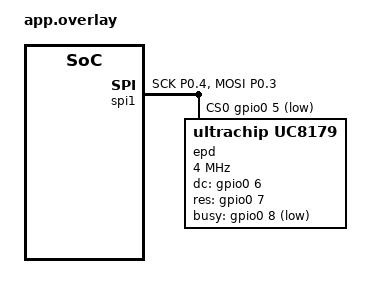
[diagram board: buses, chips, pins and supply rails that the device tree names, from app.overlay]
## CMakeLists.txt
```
# SPDX-License-Identifier: Apache-2.0

cmake_minimum_required(VERSION 3.20.0)

# Keep the display pin mapping explicit when the build directory is reused.
if(NOT DTC_OVERLAY_FILE)
  set(DTC_OVERLAY_FILE "${CMAKE_CURRENT_SOURCE_DIR}/app.overlay" CACHE STRING
      "Application devicetree overlay" FORCE)
endif()

find_package(Zephyr REQUIRED HINTS $ENV{ZEPHYR_BASE})
project(hello_world)

target_sources(app PRIVATE
  src/main.c
  src/ble_epd.c
  src/epd_frame_rx.c
  src/epd_text.c
  src/font_cn.c
  src/image_asset.c
)
```

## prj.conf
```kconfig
# nothing here
CONFIG_UART_CONSOLE=n
CONFIG_RTT_CONSOLE=y
CONFIG_USE_SEGGER_RTT=y
CONFIG_BT=y
CONFIG_BT_PERIPHERAL=y
CONFIG_BT_DEVICE_NAME="EPD-52832"
CONFIG_BT_MAX_CONN=1
CONFIG_BT_RX_STACK_SIZE=2048
CONFIG_BT_L2CAP_TX_MTU=247
CONFIG_BT_BUF_ACL_RX_SIZE=251
CONFIG_BT_BUF_ACL_TX_SIZE=251
CONFIG_MAIN_STACK_SIZE=4096
CONFIG_SPI=y
CONFIG_GPIO=y
CONFIG_PRINTK=y
```

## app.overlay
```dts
#include <zephyr/dt-bindings/gpio/gpio.h>
#include <zephyr/dt-bindings/pinctrl/nrf-pinctrl.h>

/* UART0's default RTS/CTS/TX/RX pins overlap the EPD control pins. */
&uart0 {
	status = "disabled";
};

&pinctrl {
	epd_spi_default: epd_spi_default {
		group1 {
			psels = <NRF_PSEL(SPIM_SCK, 0, 4)>,
				<NRF_PSEL(SPIM_MOSI, 0, 3)>,
				<NRF_PSEL_DISCONNECTED(SPIM_MISO)>;
		};
	};

	epd_spi_sleep: epd_spi_sleep {
		group1 {
			psels = <NRF_PSEL(SPIM_SCK, 0, 4)>,
				<NRF_PSEL(SPIM_MOSI, 0, 3)>,
				<NRF_PSEL_DISCONNECTED(SPIM_MISO)>;
			low-power-enable;
		};
	};
};

&spi1 {
	status = "okay";
	pinctrl-0 = <&epd_spi_default>;
	pinctrl-1 = <&epd_spi_sleep>;
	pinctrl-names = "default", "sleep";
	cs-gpios = <&gpio0 5 GPIO_ACTIVE_LOW>;

	epd: uc8179@0 {
		compatible = "ultrachip,uc8179";
		reg = <0>;
		spi-max-frequency = <4000000>;
		dc-gpios = <&gpio0 6 GPIO_ACTIVE_HIGH>;
		res-gpios = <&gpio0 7 GPIO_ACTIVE_HIGH>;
		/* UC8179 BUSY_N is low while the controller is busy and high when ready. */
		/* BUSY_N is active-low; the weak pull-up also covers modules that
		 * leave this output open-drain when idle. */
		busy-gpios = <&gpio0 8 (GPIO_ACTIVE_LOW | GPIO_PULL_UP)>;
	};
};
```

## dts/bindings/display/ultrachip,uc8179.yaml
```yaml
description: UltraChip UC8179 electrophoretic display controller

compatible: "ultrachip,uc8179"

include: spi-device.yaml

properties:
  dc-gpios:
    type: phandle-array
    required: true
    description: Data/command select GPIO, active high.

  res-gpios:
    type: phandle-array
    required: true
    description: Hardware reset GPIO, active high in this binding.

  busy-gpios:
    type: phandle-array
    required: true
    description: UC8179 BUSY_N input, active low while the controller is busy.
```

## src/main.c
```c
#include <errno.h>
#include <stdint.h>
#include <string.h>

#include <zephyr/device.h>
#include <zephyr/drivers/gpio.h>
#include <zephyr/drivers/spi.h>
#include <zephyr/kernel.h>
#include <zephyr/sys/printk.h>

#include "ble_epd.h"
#include "epd_frame_rx.h"
#include "epd_text.h"
#include "image_asset.h"

#define EPD_NODE DT_NODELABEL(epd)

#define EPD_WIDTH 800   //水墨屏宽度像素
#define EPD_HEIGHT 480  //水墨屏高度像素
#define EPD_ROW_BYTES (EPD_WIDTH / 8) //水墨屏宽度字节
#define EPD_FRAME_BYTES (EPD_ROW_BYTES * EPD_HEIGHT)//水墨屏总字节
#define EPD_BUSY_TIMEOUT_MS 30000  //等待busy引脚由忙转为空闲状态
#define EPD_BUSY_ASSERT_TIMEOUT_MS 1000  //等待busy引脚由空闲状态转为忙

static const struct spi_dt_spec epd_spi =
	SPI_DT_SPEC_GET(EPD_NODE, SPI_WORD_SET(8) | SPI_TRANSFER_MSB, 0);
static const struct gpio_dt_spec epd_dc =
	GPIO_DT_SPEC_GET(EPD_NODE, dc_gpios);
static const struct gpio_dt_spec epd_res =
	GPIO_DT_SPEC_GET(EPD_NODE, res_gpios);
static const struct gpio_dt_spec epd_busy =
	GPIO_DT_SPEC_GET(EPD_NODE, busy_gpios);

/**
 * @brief 得到busy引脚物理电平状态.
 *
 * @return 0 if the pin is low, 1 if the pin is high, or a negative error code.
 */
static int epd_busy_raw(void)
{
	return gpio_pin_get_raw(epd_busy.port, epd_busy.pin);
}
/**
 * @brief 向EPD写入数据.
 *
 * @param data 是否为数据模式, false: 命令模式, true: 数据模式.
 * @param buffer 数据缓冲区.
 * @param length 数据长度.
 * @return 0: 成功, 其他: 错误码.
 */
static int epd_write(bool data, const uint8_t *buffer, size_t length)
{
	// 1.首先分配一个SPI buffer内存空间
	struct spi_buf spi_buf = {
		.buf = (void *)buffer,
		.len = length,
	};
	// 2.然后将这个SPI buffer内存空间放到一个内存数组中
	struct spi_buf_set spi_buf_set = {
		.buffers = &spi_buf,
		.count = 1,
	};
	int ret;
	// 3.设置DC引脚的值
	ret = gpio_pin_set_dt(&epd_dc, data ? 1 : 0);
	if (ret < 0) {
		return ret;
	}
	// 4.调用底层spi写入
	return spi_write_dt(&epd_spi, &spi_buf_set);
}

/**
 * @brief 向EPD发送命令.
 *
 * @param command 要发送的命令字.
 * @return 0: 成功, 其他: 错误码.
 */
static int epd_command(uint8_t command)
{
	return epd_write(false, &command, 1);
}

/**
 * @brief 向EPD发送命令.
 *
 * @param data 要发送的数据.
 * @param length 数据长度.
 * @return 0: 成功, 其他: 错误码.
 */
static int epd_data(const uint8_t *data, size_t length)
{
	return epd_write(true, data, length);
}


static int epd_wait_ready(void)
{
	// 1. 获取当前时间
	int64_t deadline = k_uptime_get() + EPD_BUSY_TIMEOUT_MS;
	int busy;
	// 2. 等待EPD就绪
	while (true)
	{
		busy = gpio_pin_get_dt(&epd_busy);
		if (busy < 0) {
			return busy;
		}
		if (busy == 0) {
			return 0;
		}
		if (k_uptime_get() >= deadline) {
			printk("EPD BUSY timeout: logical=%d raw=%d\n",
			       busy, epd_busy_raw());
			return -ETIMEDOUT;
		}
		k_msleep(10);
	}
}

static int epd_wait_busy(void)
{
	// 1. 获取当前时间
	int64_t deadline = k_uptime_get() + EPD_BUSY_ASSERT_TIMEOUT_MS;
	int busy;
	// 2. 等待EPD忙信号断开
	while (true) {
		busy = gpio_pin_get_dt(&epd_busy);
		if (busy < 0) {
			return busy;
		}
		if (busy != 0) {
			return 0;
		}
		if (k_uptime_get() >= deadline) {
			printk("EPD BUSY assert timeout: logical=%d raw=%d\n",
			       busy, epd_busy_raw());
			return -ETIMEDOUT;
		}
		k_msleep(1);
	}
}

static int epd_write_register(uint8_t command, const uint8_t *data, size_t length)
{
	int ret = epd_command(command);

	if (ret == 0 && length != 0) 
	{
		ret = epd_data(data, length);
	}

	return ret;
}

static int epd_reset(void)
{
	int ret;

	ret = gpio_pin_set_dt(&epd_res, 0);
	if (ret < 0) {
		return ret;
	}
	/* Keep RES# low for a conservative 10 ms. */
	k_msleep(10);

	ret = gpio_pin_set_dt(&epd_res, 1);
	if (ret < 0) {
		return ret;
	}
	k_msleep(10);

	/* UC8179 ignores commands for at least 1 ms after reset release. */
	k_msleep(20);
	return 0;
}

static int epd_init(void)
{
	static const uint8_t panel_setting[] = {0x0F};
	/* Common 800x480 UC8179 panel power profile. */
	static const uint8_t power_setting[] = {0x07, 0x17, 0x3F, 0x3F, 0x03};
	static const uint8_t booster_soft_start[] = {0x17, 0x17, 0x17, 0x17};
	static const uint8_t pll_setting[] = {0x39};
	static const uint8_t resolution[] = {0x03, 0x20, 0x01, 0xE0};
	static const uint8_t vcom_setting[] = {0x28};
	static const uint8_t cdi_setting[] = {0x12, 0x07};
	int ret;

	ret = epd_reset();
	if (ret < 0) {
		return ret;
	}

	ret = epd_write_register(0x00, panel_setting, sizeof(panel_setting));
	if (ret == 0) {
		ret = epd_write_register(0x01, power_setting, sizeof(power_setting));
	}
	if (ret == 0) {
		ret = epd_write_register(0x06, booster_soft_start,
					 sizeof(booster_soft_start));
	}
	if (ret == 0) {
		ret = epd_write_register(0x30, pll_setting, sizeof(pll_setting));
	}
	if (ret == 0) {
		ret = epd_write_register(0x61, resolution, sizeof(resolution));
	}
	if (ret == 0) {
		ret = epd_write_register(0x82, vcom_setting,
					 sizeof(vcom_setting));
	}
	if (ret == 0) {
		ret = epd_write_register(0x50, cdi_setting, sizeof(cdi_setting));
	}
	if (ret == 0) {
		ret = epd_command(0x04);
	}
	if (ret == 0) {
		/* Do not send frame data until the booster and regulators are ready. */
		ret = epd_wait_busy();
	}
	if (ret == 0) {
		ret = epd_wait_ready();
	}

	return ret;
}


static int epd_write_test_plane(uint8_t command, const uint8_t *plane)
{
	int ret = epd_command(command);

	if (ret < 0)
	{
		return ret;
	}

	/* One SPI transaction keeps CS# asserted for all 48,000 bytes. */
	return epd_data(plane, EPD_FRAME_BYTES);
}

static int epd_refresh_test_pattern(void)
{
	int ret;

	ret = epd_wait_ready();
	if (ret == 0) {
		ret = epd_write_test_plane(0x10, epd_image_kw);
	}
	if (ret == 0) {
		ret = epd_write_test_plane(0x13, epd_image_red);
	}
	if (ret == 0) {
		/* UC8179 refresh sequence is DTM1 -> DTM2 -> DRF. */
		ret = epd_command(0x12);
	}
	if (ret == 0) {
		ret = epd_wait_busy();
	}
	if (ret == 0) {
		ret = epd_wait_ready();
	}

	return ret;
}

static int epd_refresh_text(const uint8_t *text, size_t length)
{
	uint8_t kw_row[EPD_TEXT_ROW_BYTES];
	uint8_t red_row[EPD_TEXT_ROW_BYTES];
	int ret = epd_wait_ready();

	if (ret == 0) {
		ret = epd_command(0x10);
	}
	for (size_t row = 0; ret == 0 && row < EPD_HEIGHT; row++) {
		epd_text_render_row(text, length, row, kw_row, red_row);
		ret = epd_data(kw_row, sizeof(kw_row));
	}
	if (ret == 0) {
		ret = epd_command(0x13);
	}
	for (size_t row = 0; ret == 0 && row < EPD_HEIGHT; row++) {
		epd_text_render_row(text, length, row, kw_row, red_row);
		ret = epd_data(red_row, sizeof(red_row));
	}
	if (ret == 0) {
		ret = epd_command(0x12);
	}
	if (ret == 0) {
		ret = epd_wait_busy();
	}
	if (ret == 0) {
		ret = epd_wait_ready();
	}
	return ret;
}

static int epd_stream_start_plane(uint8_t command)
{
	int ret = epd_wait_ready();

	if (ret == 0) {
		ret = epd_command(command);
	}
	return ret;
}

static int epd_stream_refresh(void)
{
	int ret = epd_command(0x12);

	if (ret == 0) {
		ret = epd_wait_busy();
	}
	if (ret == 0) {
		ret = epd_wait_ready();
	}
	return ret;
}

static const struct epd_frame_rx_ops frame_rx_ops = {
	.start_plane = epd_stream_start_plane,
	.write_data = epd_data,
	.refresh = epd_stream_refresh,
};

static uint8_t pending_text_buffer[EPD_TEXT_MAX_BYTES];

int main(void)
{
	int ret;

	printk("UC8179 test start\n");
	ret = ble_epd_init();
	if (ret < 0) {
		printk("BLE init returned: %d\n", ret);
	}

	if (!spi_is_ready_dt(&epd_spi) || !device_is_ready(epd_dc.port) ||
	    !device_is_ready(epd_res.port) || !device_is_ready(epd_busy.port)) 
	{
		printk("EPD hardware is not ready\n");
		return 0;
	}
	ret = gpio_pin_configure_dt(&epd_dc, GPIO_OUTPUT_INACTIVE);
	if (ret == 0) {
		ret = gpio_pin_configure_dt(&epd_res, GPIO_OUTPUT_INACTIVE);
	}
	if (ret == 0) {
		ret = gpio_pin_configure_dt(&epd_busy, GPIO_INPUT);
	}
	if (ret < 0) {
		printk("GPIO setup failed: %d\n", ret);
		return 0;
	}
	ret = epd_init();
	if (ret < 0) {
		printk("UC8179 init failed: %d\n", ret);
		return 0;
	}

	printk("UC8179 initialized, refreshing test pattern\n");
	ret = epd_refresh_test_pattern();
	if (ret < 0) {
		printk("EPD refresh failed: %d\n", ret);
		return 0;
	}

	printk("EPD refresh complete\n");
	epd_frame_rx_init(&frame_rx_ops);
	while (true)
	{
		size_t text_length;

		epd_frame_rx_process();
		if (!epd_frame_rx_is_busy() &&
		    ble_epd_take_text(pending_text_buffer, sizeof(pending_text_buffer),
				      &text_length) == 0)
		{
			printk("Displaying BLE text: %s\n", pending_text_buffer);
			ret = epd_refresh_text(pending_text_buffer, text_length);
			if (ret < 0)
			{
				printk("EPD text refresh failed: %d\n", ret);
			}
		}
		k_msleep(1);
	}

	return 0;
}
```

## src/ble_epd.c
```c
#include <errno.h>
#include <stdbool.h>
#include <string.h>

#include <zephyr/bluetooth/bluetooth.h>
#include <zephyr/bluetooth/conn.h>
#include <zephyr/bluetooth/gatt.h>
#include <zephyr/bluetooth/uuid.h>
#include <zephyr/kernel.h>
#include <zephyr/sys/printk.h>
#include <zephyr/sys/atomic.h>

#include "ble_epd.h"
//定义128位服务UUID
#define BT_UUID_EPD_SERVICE_VAL \
	BT_UUID_128_ENCODE(0x12345678, 0x1234, 0x5678, 0x1234, 0x56789abcdef0ULL)
//定义128位control UUID
#define BT_UUID_EPD_CONTROL_VAL \
	BT_UUID_128_ENCODE(0x12345678, 0x1234, 0x5678, 0x1234, 0x56789abcdef1ULL)
//定义128位status UUID
#define BT_UUID_EPD_STATUS_VAL \
	BT_UUID_128_ENCODE(0x12345678, 0x1234, 0x5678, 0x1234, 0x56789abcdef2ULL)
//定义128位发送帧 UUID
#define BT_UUID_EPD_FRAME_DATA_VAL \
	BT_UUID_128_ENCODE(0x12345678, 0x1234, 0x5678, 0x1234, 0x56789abcdef3ULL)

#define EPD_ADVERTISING_DATA_COUNT   2 // 广播数据项的数量
#define EPD_SCAN_RESPONSE_DATA_COUNT 1 // 扫描响应数据项的数量
#define FRAME_QUEUE_DEPTH 			 8 // 图像帧数据缓存队列深度

struct frame_chunk {
	uint16_t 					   length;// 当前数据块的实际字节长度
	uint8_t data[BLE_EPD_FRAME_CHUNK_MAX];// 存放图像二进制块的数组
};


// 将上面定义的 128 位 UUID 值的宏实例化为结构体对象，供 GATT 服务注册使用
static struct bt_uuid_128 epd_service_uuid =
			BT_UUID_INIT_128(BT_UUID_EPD_SERVICE_VAL)	;
static struct bt_uuid_128 epd_control_uuid =
			BT_UUID_INIT_128(BT_UUID_EPD_CONTROL_VAL)   ;
static struct bt_uuid_128 epd_status_uuid =
			BT_UUID_INIT_128(BT_UUID_EPD_STATUS_VAL)    ;
static struct bt_uuid_128 epd_frame_data_uuid =
			BT_UUID_INIT_128(BT_UUID_EPD_FRAME_DATA_VAL);

// 定义并初始化一个消息队列：用于向 EPD 主线程传递控制指令（容量 4 个，单个大小为枚举类型，4字节对齐）
K_MSGQ_DEFINE(frame_command_queue, sizeof(enum ble_epd_frame_command), 4, 4);

// 定义并初始化一个消息队列：用于向 EPD 主线程传递图像数据块（容量 8 个，每个为 struct frame_chunk，4字节对齐）
K_MSGQ_DEFINE(frame_data_queue, sizeof(struct frame_chunk), FRAME_QUEUE_DEPTH, 4);

static char status_text[32] = "READY";// 保存当前 BLE 状态的字符串缓冲（默认 "READY")
static uint8_t 		 pending_text[96];// 暂存待显示文本的缓冲区
static size_t     pending_text_length;// 待显示文本的实际长度
static bool 			 text_pending;// 标志位：是否有新的文本待处理
static bool 	 frame_accepting_data;// 标志位：当前是否处于允许接收图像数据的状态
static size_t 	 frame_accepted_bytes;// 当前已接收到的图像字节总数
static struct 	   k_mutex text_mutex;// 用于保护文本缓冲区的互斥锁
static struct     k_mutex frame_mutex;// 用于保护帧接收状态机的互斥锁
static struct    k_mutex status_mutex;// 用于保护状态字符串的互斥锁
static atomic_t   ble_connected_state;// 原子变量：记录 BLE 连接状态（1:已连接, 0:未连接）
static atomic_t status_notify_enabled;// 原子变量：记录客户端是否开启了 Status 的 Notify 通知（1:开启, 0:关闭）

static const struct   bt_data advertising_data[];// 声明广播数据数组
static const struct bt_data scan_response_data[];// 声明扫描响应数据数组

// 前置声明：状态读取回调函数
static ssize_t status_read(struct bt_conn *conn,
				const struct bt_gatt_attr *attr,
				   					  void *buf, 
								   uint16_t len, 
							   uint16_t offset);
// 前置声明：控制指令写入回调函数
static ssize_t control_write(struct bt_conn *conn,
				  const struct bt_gatt_attr *attr,
				    			  const void *buf, 
								 	 uint16_t len,
				    			  uint16_t offset, 
								   uint8_t flags);
// 前置声明：图像帧数据写入回调函数
static ssize_t frame_data_write(struct bt_conn *conn,
					 const struct bt_gatt_attr *attr,
									 const void *buf, 
										uint16_t len,
									 uint16_t offset, 
									  uint8_t flags);
// 前置声明：CCC (Client Characteristic Configuration) 改变时的回调函数（订阅/取消订阅 Notify）
static void status_ccc_changed(const struct bt_gatt_attr *attr, 
											   uint16_t value);
// 前置声明：连接断开后的异步延时处理函数，并定义相关的 Work 任务
static void disconnected_work_handler(struct k_work *work);
K_WORK_DEFINE(disconnected_work, disconnected_work_handler);

// 使用宏注册 BLE GATT 服务及其特征值
BT_GATT_SERVICE_DEFINE(epd_service,
	// 定义主服务 (Primary Service)
	BT_GATT_PRIMARY_SERVICE(&epd_service_uuid.uuid),
	// 1. 定义 Control 特征值：可写、无需响应写，写权限为可写，绑定 control_write 回调
	BT_GATT_CHARACTERISTIC(&epd_control_uuid.uuid  ,
	BT_GATT_CHRC_WRITE | BT_GATT_CHRC_WRITE_WITHOUT_RESP,
	BT_GATT_PERM_WRITE, NULL, control_write, NULL) ,
	// 2. 定义 Status 特征值：可读、可通知 (Notify)，读权限为可读，绑定 status_read 回调
	BT_GATT_CHARACTERISTIC(&epd_status_uuid.uuid   ,
	BT_GATT_CHRC_READ | BT_GATT_CHRC_NOTIFY    ,
	BT_GATT_PERM_READ, status_read, NULL, NULL),
	// 定义 Status 特征值的 CCCD (用于控制 Notify 的订阅状态)
	BT_GATT_CCC(status_ccc_changed,
	BT_GATT_PERM_READ | BT_GATT_PERM_WRITE),
	// 3. 定义 Frame Data 特征值：可写，绑定 frame_data_write 回调
	BT_GATT_CHARACTERISTIC(&epd_frame_data_uuid.uuid,
	BT_GATT_CHRC_WRITE,
	BT_GATT_PERM_WRITE, NULL, frame_data_write, NULL));

/**
 * @brief 当中央设备（如手机）读取 Status 特征值时的回调
 * 
 * @param conn 连接对象指针
 * @param attr 属性对象指针
 * @param buf 输出缓冲区指针
 * @param len 输出缓冲区长度
 * @param offset 偏移量
 * @return ssize_t 实际读取的字节数
 */
static ssize_t status_read(struct bt_conn *conn,
				const struct bt_gatt_attr *attr,
				   					  void *buf, 
								   uint16_t len, 
							    uint16_t offset)
{
	char value[sizeof(status_text)];
	size_t value_length;
	// 1.加锁安全拷贝当前的状态字符串
	k_mutex_lock(&status_mutex, K_FOREVER);
	value_length = strlen(status_text);
	memcpy(value, status_text, value_length + 1);
	k_mutex_unlock(&status_mutex);
	// 2.调用 Zephyr API 将数据返回给中央设备
	return bt_gatt_attr_read(conn, attr, buf, len, offset, value, value_length);
}

/**
 * @brief 供外部/系统调用的函数：设置当前状态，并通过 Notify 主动推送给手机
 * 
 * @param text 要设置的状态字符串
 */
void ble_epd_set_status(const char *text)
{
	size_t length;
	int ret;
	// 1. 检查输入指针是否为空
	if (text == NULL) 
	{
		return;
	}
	length = strlen(text);
	// 2. 检查输入字符串长度是否超过限制
	if (length >= sizeof(status_text)) 
	{
		length = sizeof(status_text) - 1;
	}
	// 3. 加锁安全拷贝状态字符串
	k_mutex_lock(&status_mutex, K_FOREVER);
	memcpy(status_text, text, length);
	status_text[length] = '\0';
	k_mutex_unlock(&status_mutex);
	// 4. 检查连接状态和通知启用状态
	if (!atomic_get(&ble_connected_state) ||
	    !atomic_get(&status_notify_enabled)) 
	{
		return;
	}

	// 5.参数 NULL 表示将通知发送给所有订阅了该特征的已连接主设备 
	//   &epd_service.attrs[4] 对应 Status 特征的属性句柄
	ret = bt_gatt_notify(NULL, &epd_service.attrs[4], status_text, length);

	if (ret != 0 && atomic_get(&ble_connected_state)) 
	{
		printk("BLE status notify failed: %d (%s)\n", ret, status_text);
	}
}

/**
 * @brief 将命令放入控制命令队列
 * 
 * @param command 进入队列的命令
 * @return 0 成功，-ENOMEM 内存不足
 */
static int queue_frame_command(enum ble_epd_frame_command command)
{
	if (k_msgq_put(&frame_command_queue, &command, K_NO_WAIT) != 0) 
	{
		return -ENOMEM;
	}
	return 0;
}

/**
 * @brief 当手机向 Control 特征值写入数据时的回调
 * 
 * @param conn 连接指针
 * @param attr 特征属性指针
 * @param buf 数据缓冲区
 * @param len 数据长度
 * @param offset 偏移量
 * @param flags 标志
 * @return 写操作结果
 */
static ssize_t control_write(struct bt_conn *conn,
				  const struct bt_gatt_attr *attr,
				    			  const void *buf, 
								 	 uint16_t len,
				    			  uint16_t offset, 
								   uint8_t flags)
{
	char command[96];
	int ret = 0;

	ARG_UNUSED(conn);
	ARG_UNUSED(attr);
	ARG_UNUSED(flags);
	// 1.不支持带偏移量的分段写入
	if (offset != 0) 
	{
		return BT_GATT_ERR(BT_ATT_ERR_INVALID_OFFSET);
	}
	// 2.检查数据长度是否有效
	if (len == 0 || len >= sizeof(command))
	{
		return BT_GATT_ERR(BT_ATT_ERR_INVALID_ATTRIBUTE_LEN);
	}

	memcpy(command, buf, len);
	command[len] = '\0';
	if (len == 4 && memcmp(command, "PING", 4) == 0) 
	{
		ble_epd_set_status("PONG");
	} 
	else if (len == 8 && memcmp(command, "FRAME:KW", 8) == 0) 
	{
		ret = queue_frame_command(BLE_EPD_FRAME_COMMAND_KW);
	} 
	else if (len == 9 && memcmp(command, "FRAME:RED", 9) == 0) 
	{
		ret = queue_frame_command(BLE_EPD_FRAME_COMMAND_RED);
	} 
	else if (len == 10 && memcmp(command, "FRAME:SHOW", 10) == 0) 
	{
		ret = queue_frame_command(BLE_EPD_FRAME_COMMAND_SHOW);
	} 
	else if (len == 11 && memcmp(command, "FRAME:ABORT", 11) == 0) 
	{
		ret = queue_frame_command(BLE_EPD_FRAME_COMMAND_ABORT);
	} 
	else if (len > 5 && memcmp(command, "TEXT:", 5) == 0) 
	{
		size_t text_length = len - 5;

		while (text_length                   >   0 	&&
			  (command[5 + text_length - 1] == '\r' ||
			   command[5 + text_length - 1] == '\n')) 
		{
			text_length--;
		}
		if (text_length == 0 || text_length >= sizeof(pending_text)) 
		{
			ble_epd_set_status("ERROR:TEXT_LEN");
			return len;
		}
		// 3. 处理文本命令
		k_mutex_lock(&text_mutex, K_FOREVER);
		memcpy(pending_text, &command[5], text_length);

		pending_text[text_length] =  		'\0';
		pending_text_length 	  =  text_length;
		text_pending        	  = 		true;

		k_mutex_unlock(&text_mutex)  ;
		ble_epd_set_status("TEXT_OK");
	} 
	else 
	{
		ble_epd_set_status("ERROR:UNKNOWN");
		return len;
	}
	// 4. 检查命令队列状态
	if (ret < 0) 
	{
		ble_epd_set_status("ERROR:CMD_QUEUE");
		return BT_GATT_ERR(BT_ATT_ERR_INSUFFICIENT_RESOURCES);
	}
	return len;
}

/**
 * @brief 当手机向 Frame Data 特征值写入图像数据块时的回调
 * 
 * @param conn 连接指针
 * @param attr 特征属性指针
 * @param buf 数据缓冲区
 * @param len 数据长度
 * @param offset 偏移量
 * @param flags 标志
 * @return 写操作结果
 */
static ssize_t frame_data_write(struct bt_conn *conn,
					 const struct bt_gatt_attr *attr,
									 const void *buf, 
										uint16_t len,
									 uint16_t offset, 
									  uint8_t flags)
{
	struct frame_chunk chunk;

	ARG_UNUSED(conn);
	ARG_UNUSED(attr);
	ARG_UNUSED(flags);
	// 1.不支持带偏移量的分段写入
	if (offset != 0) 
	{
		return BT_GATT_ERR(BT_ATT_ERR_INVALID_OFFSET);
	}
	// 2. 检查数据长度是否有效
	if (len == 0 || len > sizeof(chunk.data)) 
	{
		return BT_GATT_ERR(BT_ATT_ERR_INVALID_ATTRIBUTE_LEN);
	}

	k_mutex_lock(&frame_mutex, K_FOREVER);
	// 3. 检查是否允许接受数据
	if (!frame_accepting_data) 
	{
		k_mutex_unlock(&frame_mutex);
		return BT_GATT_ERR(BT_ATT_ERR_WRITE_REQ_REJECTED);
	}
	// 4. 检查是否超过最大接受字节数
	if (frame_accepted_bytes + len > BLE_EPD_FRAME_BYTES) 
	{
		k_mutex_unlock(&frame_mutex);
		return BT_GATT_ERR(BT_ATT_ERR_INVALID_ATTRIBUTE_LEN);
	}

	chunk.length = len;
	memcpy(chunk.data, buf, len);
	// 5. 将数据块推入消息队列供底层显示线程读取
	if (k_msgq_put(&frame_data_queue, &chunk, K_NO_WAIT) != 0) 
	{
		printk("BLE frame queue full at %u/%u bytes\n",
		       (unsigned int)frame_accepted_bytes, BLE_EPD_FRAME_BYTES);
		k_mutex_unlock(&frame_mutex);
		return BT_GATT_ERR(BT_ATT_ERR_INSUFFICIENT_RESOURCES);
	}
	frame_accepted_bytes += len;
	// 6. 检查是否已接收完所有数据
	if (frame_accepted_bytes == BLE_EPD_FRAME_BYTES) 
	{
		frame_accepting_data = false;
	}
	k_mutex_unlock(&frame_mutex);
	return len;
}

// 客户端改变订阅状态（CCCD 变化）时的回调
static void status_ccc_changed(const struct bt_gatt_attr *attr, uint16_t value)
{
	ARG_UNUSED(attr);
	// 判断客户端是否开启了 Notify (BT_GATT_CCC_NOTIFY)
	atomic_set(&status_notify_enabled,
		       value == BT_GATT_CCC_NOTIFY ? 1 : 0);
}

/**
 * @brief 清空/复位图像传输状态及消息队列
 */
static void reset_frame_transport(void)
{
	k_mutex_lock(&frame_mutex, K_FOREVER);
	frame_accepting_data = false;
	frame_accepted_bytes = 	   0;
	// 清空消息队列
	k_msgq_purge(&frame_data_queue);
	k_msgq_purge(&frame_command_queue);
	k_mutex_unlock(&frame_mutex);
}

/**
 * @brief 连接建立时的回调
 * 
 * @param conn 连接指针
 * @param err 错误码
 */
static void connected(struct bt_conn *conn, uint8_t err)
{
	ARG_UNUSED(conn);
	if (err != 0) 
	{
		printk("BLE connection failed: %u\n", err);
		return;
	}
	// 标记已连接
	atomic_set(&ble_connected_state, 1);
	// 复位 Notify 订阅状态（等待客户端重新订阅）
	atomic_set(&status_notify_enabled, 0);
	printk("BLE connected\n");
}

/**
 * @brief 连接建立时的回调
 * 
 * @brief 连接断开时的回调
 * 
 * @param conn 连接指针
 * @param reason 断开原因
 */
static void disconnected(struct bt_conn *conn, uint8_t reason)
{
	ARG_UNUSED(conn);
	// 标记已断开连接
	atomic_set(&ble_connected_state, 0);
	// 复位 Notify 订阅状态（等待客户端重新订阅）
	atomic_set(&status_notify_enabled, 0);
	printk("BLE disconnected: reason 0x%02x\n", reason);
	// 将断开后的清理与重新广播逻辑提交到内核 Work 工作队列异步执行，不在中断/协议栈上下文强行操作
	k_work_submit(&disconnected_work);
}

/**
 * @brief 断开后的清理与重新广播逻辑
 * 
 * @param work 工作项指针
 */
static void disconnected_work_handler(struct k_work *work)
{
	enum ble_epd_frame_command abort_command = BLE_EPD_FRAME_COMMAND_ABORT;
	int err;

	ARG_UNUSED(work);
	// 1. 临界条件处理：如果在这期间设备迅速重新连接了，说明新连接接管了传输，老连接的清理不能破坏当前状态
	if (atomic_get(&ble_connected_state)) 
	{
		return;
	}
	// 2. 重置帧传输状态
	reset_frame_transport();
	// 3. 向显示线程发送 ABORT 中止指令
	(void)k_msgq_put(&frame_command_queue, &abort_command, K_NO_WAIT);
	// 4.重新开启 BLE 广播，等待下次连接
	err = bt_le_adv_start(BT_LE_ADV_CONN, advertising_data,
				      EPD_ADVERTISING_DATA_COUNT, scan_response_data,
				      EPD_SCAN_RESPONSE_DATA_COUNT);
	if (err != 0 && err != -EALREADY) 
	{
		printk("BLE restart advertising failed: %d\n", err);
	}
}

// 注册连接回调函数结构体
BT_CONN_CB_DEFINE(epd_conn_callbacks) = {
	.connected    =    connected,
	.disconnected = disconnected,
};

// 配置广播数据包 (Advertising Data)
static const struct bt_data advertising_data[] = {
	// 广播 Flag：通用可发现模式，不支持 BR/EDR (经典蓝牙)
	BT_DATA_BYTES(BT_DATA_FLAGS, (BT_LE_AD_GENERAL | BT_LE_AD_NO_BREDR)),
	// 广播主服务的 128 位 UUID
	BT_DATA_BYTES(BT_DATA_UUID128_ALL, BT_UUID_EPD_SERVICE_VAL),
};

// 配置扫描响应数据包 (Scan Response Data)
static const struct bt_data scan_response_data[] = {
	BT_DATA(
					BT_DATA_NAME_COMPLETE, 
			  		CONFIG_BT_DEVICE_NAME,
  	   sizeof(CONFIG_BT_DEVICE_NAME) - 1),
};

/** 
 * @brief BLE就绪回调函数
 * @param err 错误码
 */
static void bt_ready(int err)
{
	if (err != 0) 
	{
		printk("BLE enable failed: %d\n", err);
		return;
	}
	// 1. 开始 BLE 广播
	err = bt_le_adv_start(BT_LE_ADV_CONN,
				        advertising_data,
			ARRAY_SIZE(advertising_data),
				      scan_response_data,
		 ARRAY_SIZE(scan_response_data));

	if (err != 0) 
	{
		printk("BLE advertising failed: %d\n", err);
		return;
	}
	printk("BLE advertising as %s\n", CONFIG_BT_DEVICE_NAME);
}

// 模块初始化 API：供 main() 函数调用
int ble_epd_init(void)
{
	int err;

	k_mutex_init(&text_mutex);
	k_mutex_init(&frame_mutex);
	k_mutex_init(&status_mutex);
	atomic_set(&ble_connected_state, 0);
	atomic_set(&status_notify_enabled, 0);
	reset_frame_transport();
	err = bt_enable(bt_ready);
	if (err != 0) 
	{
		printk("BLE init failed: %d\n", err);
	}
	return err;
}

/**
 * @brief 获取待显示文本数据
 * @param buffer 存储文本数据的缓冲区
 * @param capacity 缓冲区容量
 * @param length 实际获取的文本长度
 * @return 0 成功，-EAGAIN 无数据，-EINVAL 参数错误
 */
int ble_epd_take_text(uint8_t *buffer, size_t capacity, size_t *length)
{
	int ret = -EAGAIN;

	if (buffer == NULL || length == NULL || capacity == 0) 
	{
		return -EINVAL;
	}
	k_mutex_lock(&text_mutex, K_FOREVER);
	if (text_pending && pending_text_length < capacity) 
	{
		memcpy(buffer, pending_text, pending_text_length);
		buffer[pending_text_length] = '\0';
		*length = pending_text_length;
		text_pending = false;
		ret = 0;
	}
	k_mutex_unlock(&text_mutex);
	return ret;
}

/**
 * @brief 获取帧命令
 * @param command 存储命令的指针
 * @return 0 成功，-EAGAIN 无数据，-EINVAL 参数错误
 */
int ble_epd_take_frame_command(enum ble_epd_frame_command *command)
{
	if (command == NULL) 
	{
		return -EINVAL;
	}
	// 非阻塞方式从消息队列取出一条指令
	return k_msgq_get(&frame_command_queue, command, K_NO_WAIT) == 0 ? 0 : -EAGAIN;
}

// 显示线程通知 BLE 模块：准备好接收新的图像数据帧
void ble_epd_frame_start_data(void)
{
	k_mutex_lock(&frame_mutex, K_FOREVER);
	k_msgq_purge(&frame_data_queue);
	frame_accepted_bytes = 0;
	frame_accepting_data = true;
	k_mutex_unlock(&frame_mutex);
}
// 显示线程通知 BLE 模块：停止接收图像数据帧
void ble_epd_frame_stop_data(void)
{
	k_mutex_lock(&frame_mutex, K_FOREVER);
	frame_accepting_data = false;
	frame_accepted_bytes = 0;
	k_msgq_purge(&frame_data_queue);
	k_mutex_unlock(&frame_mutex);
}

/**
 * @brief 显示线程从队列中提取一个图像数据块
 * @param buffer 存储数据的缓冲区
 * @param capacity 缓冲区容量
 * @param length 实际数据长度
 * @return 0 成功，-EAGAIN 无数据，-EINVAL 参数错误，-ENOBUFS 缓冲区不足
 */
int ble_epd_take_frame_data(uint8_t *buffer, size_t capacity, size_t *length)
{
	struct frame_chunk chunk;

	if (buffer == NULL || length == NULL) 
	{
		return -EINVAL;
	}
	if (k_msgq_get(&frame_data_queue, &chunk, K_NO_WAIT) != 0) 
	{
		return -EAGAIN;
	}
	if (chunk.length > capacity) 
	{
		return -ENOBUFS;
	}
	memcpy(buffer, chunk.data, chunk.length);
	*length = chunk.length;
	return 0;
}
```

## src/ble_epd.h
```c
#ifndef BLE_EPD_H_
#define BLE_EPD_H_

#include <stddef.h>
#include <stdint.h>

#define BLE_EPD_FRAME_BYTES 48000U
#define BLE_EPD_FRAME_CHUNK_MAX 244U

enum ble_epd_frame_command {
	BLE_EPD_FRAME_COMMAND_KW,
	BLE_EPD_FRAME_COMMAND_RED,
	BLE_EPD_FRAME_COMMAND_SHOW,
	BLE_EPD_FRAME_COMMAND_ABORT,
};

/**
 * @brief Initialize the EPD BLE peripheral and start advertising.
 *
 * @return 0 on success, otherwise a negative error code.
 */
int ble_epd_init(void);

/**
 * @brief Take one pending text command received over BLE.
 *
 * The returned text is a NUL-terminated UTF-8 string without the TEXT: prefix.
 *
 * @return 0 when text was copied, -EAGAIN when no text is pending.
 */
int ble_epd_take_text(uint8_t *buffer, size_t capacity, size_t *length);

/** Take one queued FRAME:* control command. */
int ble_epd_take_frame_command(enum ble_epd_frame_command *command);

/** Enable the frame-data characteristic for exactly one 48,000-byte plane. */
void ble_epd_frame_start_data(void);

/** Disable frame writes and discard data that has not been consumed. */
void ble_epd_frame_stop_data(void);

/** Take one reliable data packet received on the frame-data characteristic. */
int ble_epd_take_frame_data(uint8_t *buffer, size_t capacity, size_t *length);

/** Update the readable/notifiable Status characteristic. */
void ble_epd_set_status(const char *text);

#endif
```

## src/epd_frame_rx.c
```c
#include <errno.h>
#include <stdbool.h>

#include <zephyr/sys/printk.h>
#include <zephyr/kernel.h>

#include "ble_epd.h"
#include "epd_frame_rx.h"

// 定义三色电子纸（黑/白/红）刷屏接收状态机的状态枚举
enum frame_state {
	FRAME_IDLE,         // 空闲状态：没有正在进行的图像传输
	FRAME_KW_RECEIVING, // 正在接收黑白（K/W - Black/White）通道数据
	FRAME_KW_DONE,	    // 黑白通道数据已完整接收
	FRAME_RED_RECEIVING,// 正在接收红色（RED）通道数据
	FRAME_RED_DONE,		// 红色通道数据已完整接收，准备好刷新
};

static const struct epd_frame_rx_ops *frame_ops;// 硬件操作接口结构体指针
static enum frame_state 			frame_state;// 当前状态机的状态（默认未初始化
static size_t 				plane_bytes_written;// 当前数据面（Plane）已经写入硬件 EPD 的累计字节数
static uint8_t frame_packet[BLE_EPD_FRAME_CHUNK_MAX];// 临时缓冲区，用于从 BLE 队列提取单个数据块

/**
 * @brief 当图像传输出现异常或出错时的统一失败处理函数
 * 
 * @param status 错误状态字符串
 * @param error 错误代码
 */
static void frame_fail(const char *status, int error)
{
	printk("EPD frame transfer failed: %d\n", error);
	ble_epd_frame_stop_data();
	ble_epd_set_status(status);
	frame_state = FRAME_IDLE;
	plane_bytes_written = 0;
}

/**
 * @brief 启动一个新的显示通道/平面（如黑白通道或红色通道）数据传输
 * 
 * @param epd_command EPD 硬件命令
 * @param receiving_state 接收状态机状态
 * @param ready_status 准备就绪状态字符串
 */
static void start_plane(uint8_t epd_command, 
		   enum frame_state receiving_state,
				   const char *ready_status)
{
	int ret;
	// 1.确保先停止并清空旧的数据传输状态
	ble_epd_frame_stop_data();
	// 2.调用硬件 SPI 接口，发送电子纸写入命令（例如 0x10 表示写黑白 RAM，0x13 表示写红 RAM）
	ret = frame_ops->start_plane(epd_command);
	if (ret < 0) 
	{
		frame_fail("FRAME:EPD_ERROR", ret);
		return;
	}

	plane_bytes_written = 0;
	frame_state = receiving_state;
	// 3.通知 BLE 模块允许开始接收数据包
	ble_epd_frame_start_data();
	// 4.通过 BLE 向客户端 Notify 就绪状态（如 "FRAME:KW_READY"）
	ble_epd_set_status(ready_status);
}

/**
 * @brief 处理 BLE 命令
 * 
 * @param command 
 */
static void handle_command(enum ble_epd_frame_command command)
{
	int ret;

	switch (command) {
	case BLE_EPD_FRAME_COMMAND_KW:
		// 1.FRAME:KW 总是开始一个新的图像帧传输，并放弃旧的未完成传输 
		start_plane(0x10, FRAME_KW_RECEIVING, "FRAME:KW_READY");
		break;
	case BLE_EPD_FRAME_COMMAND_RED:
		// 2.校验状态：必须先传完黑白通道数据，才能开始传红色通道数据
		if (frame_state != FRAME_KW_DONE) 
		{
			ble_epd_set_status("ERROR:NEED_KW");
			break;
		}
		start_plane(0x13, FRAME_RED_RECEIVING, "FRAME:RED_READY");
		break;
	case BLE_EPD_FRAME_COMMAND_SHOW:
		// 3.校验状态：必须先传完红色通道数据，才能刷新显示
		if (frame_state != FRAME_RED_DONE) 
		{
			ble_epd_set_status("ERROR:NEED_RED");
			break;
		}
		// 4.调用硬件接口发命令触发电子纸高压物理刷新（耗时操作）
		ret = frame_ops->refresh();
		if (ret < 0) 
		{
			frame_fail("FRAME:EPD_ERROR", ret);
			break;
		}
		frame_state = FRAME_IDLE;
		ble_epd_set_status("FRAME:DONE");
		printk("EPD BLE frame refresh complete\n");
		break;
	case BLE_EPD_FRAME_COMMAND_ABORT:
		// 主动中止当前的传输流程
		ble_epd_frame_stop_data();
		frame_state = FRAME_IDLE;
		plane_bytes_written = 0;
		ble_epd_set_status("FRAME:ABORTED");
		break;
	}
}

/**
 * @brief 从 BLE 队列中提取数据包，并写入硬件 EPD 显示器
 * 
 */
static void consume_frame_data(void)
{
	size_t length;
	int ret;
	unsigned int packets = 0;
	// 1.循环从 BLE 数据队列中拉取数据块，直到队列为空 (返回非 0)
	while (ble_epd_take_frame_data(frame_packet, sizeof(frame_packet), &length) == 0) 
	{
		// 2.状态合法性校验：当前必须处于黑白或红色数据接收状态
		if (frame_state != FRAME_KW_RECEIVING &&
		    frame_state != FRAME_RED_RECEIVING) 
		{
			frame_fail("ERROR:FRAME_STATE", -EINVAL);
			return;
		}
		// 3.边界校验：防止客户端发送的数据总量超过单帧所需字节数 (BLE_EPD_FRAME_BYTES)
		if (plane_bytes_written + length > BLE_EPD_FRAME_BYTES) 
		{
			frame_fail("ERROR:FRAME_SIZE", -EFBIG);
			return;
		}
		// 4.通过 SPI 硬件接口，将这一块数据写入电子纸控制器
		ret = frame_ops->write_data(frame_packet, length);
		if (ret < 0) 
		{
			frame_fail("FRAME:EPD_ERROR", ret);
			return;
		}
		plane_bytes_written += length;
		packets++;
		// 5.判断当前平面的数据是否全部接收并写入完毕
		if (plane_bytes_written == BLE_EPD_FRAME_BYTES) 
		{
			ble_epd_frame_stop_data();
			if (frame_state == FRAME_KW_RECEIVING) 
			{
				// 通知客户端黑白通道接收完毕
				frame_state = FRAME_KW_DONE;
				ble_epd_set_status("FRAME:KW_DONE");
				printk("EPD BLE K/W plane received: %u bytes\n",
				       							BLE_EPD_FRAME_BYTES);
			} 
			else 
			{
				// 通知客户端红色通道接收完毕
				frame_state = FRAME_RED_DONE;
				ble_epd_set_status("FRAME:RED_DONE");
				printk("EPD BLE RED plane received: %u bytes\n",
				       BLE_EPD_FRAME_BYTES);
			}
				return;
		}

		// 6.调度让步：每连续消耗 4 个包就主动 sleep 1ms，
        // 避免本线程强占 CPU 导致 BLE 协议栈的中断/高优先任务无法及时收包，引发丢包或队列溢出 */
		if (packets >= 4U) 
		{
			k_msleep(1);
			packets = 0;
		}
	}
}

/**
 * @brief 初始化图像传输状态机
 * 
 * @param ops 硬件操作接口结构体指针
 */
void epd_frame_rx_init(const struct epd_frame_rx_ops *ops)
{
	frame_ops   = ops;
	frame_state = FRAME_IDLE;
	plane_bytes_written = 0;
}

/**
 * @brief 主轮询/处理函数：需要被 EPD 显示线程（如 main 函数的 while(1) 或专属线程）定期调用
 */
void epd_frame_rx_process(void)
{
	enum ble_epd_frame_command command;

	if (frame_ops == NULL) 
	{
		return;
	}
	// 第一步：检查是否有新的控制命令，有则处理命令
	if (ble_epd_take_frame_command(&command) == 0) 
	{
		handle_command(command);
	}
	// 第二步：消费并写入图像数据块
	consume_frame_data();
}

/**
 * @brief 检查图像传输是否忙碌
 */
bool epd_frame_rx_is_busy(void)
{
	// 非 IDLE 状态即表示忙碌
	return frame_state != FRAME_IDLE;
}
```

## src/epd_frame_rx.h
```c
#ifndef EPD_FRAME_RX_H_
#define EPD_FRAME_RX_H_

#include <stdbool.h>
#include <stddef.h>
#include <stdint.h>

struct epd_frame_rx_ops {
	int (*start_plane)(uint8_t command);
	int (*write_data)(const uint8_t *data, size_t length);
	int (*refresh)(void);
};

void epd_frame_rx_init(const struct epd_frame_rx_ops *ops);
void epd_frame_rx_process(void);
bool epd_frame_rx_is_busy(void);

#endif
```

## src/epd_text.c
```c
#include <ctype.h>
#include <string.h>

#include "epd_text.h"
#include "font_cn.h"

#define EPD_WIDTH 800 //EPD长度像素
#define EPD_HEIGHT 480//EPD宽度像素
#define ASCII_FONT_WIDTH 5  //5×7字体
#define ASCII_FONT_HEIGHT 7 //5×7字体
#define ASCII_FONT_SCALE 4  //EPD字体缩放比例
#define GLYPH_SPACING    4	//
#define ASCII_GLYPH_WIDTH (ASCII_FONT_WIDTH * ASCII_FONT_SCALE)
#define ASCII_GLYPH_HEIGHT (ASCII_FONT_HEIGHT * ASCII_FONT_SCALE)
#define ASCII_GLYPH_ADVANCE (ASCII_GLYPH_WIDTH + GLYPH_SPACING)
#define CN_GLYPH_ADVANCE (FONT_CN_WIDTH + GLYPH_SPACING)
#define TEXT_HEIGHT FONT_CN_HEIGHT
#define TEXT_Y ((EPD_HEIGHT - TEXT_HEIGHT) / 2)
#define ASCII_TEXT_Y (TEXT_Y + (TEXT_HEIGHT - ASCII_GLYPH_HEIGHT) / 2)

/* Columns are stored top-to-bottom in bits 0..6. */
static const uint8_t font_digits[10][ASCII_FONT_WIDTH] = {
	{0x3E, 0x51, 0x49, 0x45, 0x3E}, {0x00, 0x42, 0x7F, 0x40, 0x00},
	{0x42, 0x61, 0x51, 0x49, 0x46}, {0x21, 0x41, 0x45, 0x4B, 0x31},
	{0x18, 0x14, 0x12, 0x7F, 0x10}, {0x27, 0x45, 0x45, 0x45, 0x39},
	{0x3C, 0x4A, 0x49, 0x49, 0x30}, {0x01, 0x71, 0x09, 0x05, 0x03},
	{0x36, 0x49, 0x49, 0x49, 0x36}, {0x06, 0x49, 0x49, 0x29, 0x1E},
};

static const uint8_t font_upper[26][ASCII_FONT_WIDTH] = {
	{0x7E, 0x11, 0x11, 0x11, 0x7E}, {0x7F, 0x49, 0x49, 0x49, 0x36},
	{0x3E, 0x41, 0x41, 0x41, 0x22}, {0x7F, 0x41, 0x41, 0x22, 0x1C},
	{0x7F, 0x49, 0x49, 0x49, 0x41}, {0x7F, 0x09, 0x09, 0x09, 0x01},
	{0x3E, 0x41, 0x49, 0x49, 0x7A}, {0x7F, 0x08, 0x08, 0x08, 0x7F},
	{0x00, 0x41, 0x7F, 0x41, 0x00}, {0x20, 0x40, 0x41, 0x3F, 0x01},
	{0x7F, 0x08, 0x14, 0x22, 0x41}, {0x7F, 0x40, 0x40, 0x40, 0x40},
	{0x7F, 0x02, 0x0C, 0x02, 0x7F}, {0x7F, 0x04, 0x08, 0x10, 0x7F},
	{0x3E, 0x41, 0x41, 0x41, 0x3E}, {0x7F, 0x09, 0x09, 0x09, 0x06},
	{0x3E, 0x41, 0x51, 0x21, 0x5E}, {0x7F, 0x09, 0x19, 0x29, 0x46},
	{0x46, 0x49, 0x49, 0x49, 0x31}, {0x01, 0x01, 0x7F, 0x01, 0x01},
	{0x3F, 0x40, 0x40, 0x40, 0x3F}, {0x1F, 0x20, 0x40, 0x20, 0x1F},
	{0x7F, 0x20, 0x18, 0x20, 0x7F}, {0x63, 0x14, 0x08, 0x14, 0x63},
	{0x07, 0x08, 0x70, 0x08, 0x07}, {0x61, 0x51, 0x49, 0x45, 0x43},
};

static const uint8_t font_question[ASCII_FONT_WIDTH] = {0x02, 0x01, 0x51, 0x09, 0x06};

static const uint8_t *ascii_glyph_for(uint8_t ch)
{
	static const uint8_t space[ASCII_FONT_WIDTH] = {0, 0, 0, 0, 0};

	if (ch >= 'a' && ch <= 'z') {
		ch = (uint8_t)toupper(ch);
	}
	if (ch >= '0' && ch <= '9') {
		return font_digits[ch - '0'];
	}
	if (ch >= 'A' && ch <= 'Z') {
		return font_upper[ch - 'A'];
	}
	if (ch == ' ') {
		return space;
	}
	return font_question;
}

static size_t utf8_decode(const uint8_t *text, size_t length, uint32_t *codepoint)
{
	uint8_t first;

	if (length == 0) {
		return 0;
	}

	first = text[0];
	if (first < 0x80) {
		*codepoint = first;
		return 1;
	}
	if (first >= 0xC2 && first <= 0xDF && length >= 2 &&
	    (text[1] & 0xC0) == 0x80) {
		*codepoint = ((uint32_t)(first & 0x1F) << 6) |
			    (uint32_t)(text[1] & 0x3F);
		return 2;
	}
	if (first >= 0xE0 && first <= 0xEF && length >= 3 &&
	    (text[1] & 0xC0) == 0x80 && (text[2] & 0xC0) == 0x80) {
		uint32_t value = ((uint32_t)(first & 0x0F) << 12) |
				 ((uint32_t)(text[1] & 0x3F) << 6) |
				 (uint32_t)(text[2] & 0x3F);

		if (value >= 0x800 && !(value >= 0xD800 && value <= 0xDFFF)) {
			*codepoint = value;
			return 3;
		}
	}
	if (first >= 0xF0 && first <= 0xF4 && length >= 4 &&
	    (text[1] & 0xC0) == 0x80 && (text[2] & 0xC0) == 0x80 &&
	    (text[3] & 0xC0) == 0x80) {
		uint32_t value = ((uint32_t)(first & 0x07) << 18) |
				 ((uint32_t)(text[1] & 0x3F) << 12) |
				 ((uint32_t)(text[2] & 0x3F) << 6) |
				 (uint32_t)(text[3] & 0x3F);

		if (value >= 0x10000 && value <= 0x10FFFF) {
			*codepoint = value;
			return 4;
		}
	}

	*codepoint = '?';
	return 1;
}

static size_t glyph_advance(uint32_t codepoint)
{
	return font_cn_find(codepoint) != NULL ? CN_GLYPH_ADVANCE : ASCII_GLYPH_ADVANCE;
}

static size_t text_pixel_width(const uint8_t *text, size_t length)
{
	size_t offset = 0;
	size_t width = 0;

	while (offset < length) {
		uint32_t codepoint;
		size_t consumed = utf8_decode(&text[offset], length - offset, &codepoint);

		if (consumed == 0) {
			break;
		}
		width += glyph_advance(codepoint);
		offset += consumed;
	}

	return width >= GLYPH_SPACING ? width - GLYPH_SPACING : 0;
}

static void set_black_pixel(uint8_t kw[EPD_TEXT_ROW_BYTES], size_t x)
{
	if (x < EPD_WIDTH) {
		kw[x / 8] |= (uint8_t)(1U << (7 - (x % 8)));
	}
}

void epd_text_render_row(const uint8_t *text, size_t length, size_t row,
				 uint8_t kw[EPD_TEXT_ROW_BYTES],
				 uint8_t red[EPD_TEXT_ROW_BYTES])
{
	size_t width = text_pixel_width(text, length);
	size_t x0 = width < EPD_WIDTH ? (EPD_WIDTH - width) / 2 : 0;
	size_t offset = 0;
	size_t glyph_x = x0;

	memset(kw, 0x00, EPD_TEXT_ROW_BYTES);
	memset(red, 0xFF, EPD_TEXT_ROW_BYTES);
	if (row < TEXT_Y || row >= TEXT_Y + TEXT_HEIGHT) {
		return;
	}

	while (offset < length) {
		uint32_t codepoint;
		size_t consumed = utf8_decode(&text[offset], length - offset, &codepoint);
		const uint8_t *cn_glyph = font_cn_find(codepoint);

		if (consumed == 0) {
			break;
		}

		if (cn_glyph != NULL) {
			size_t glyph_row = row - TEXT_Y;

			for (size_t col = 0; col < FONT_CN_WIDTH; col++) {
				uint8_t mask = (uint8_t)(1U << (7 - (col % 8)));
				if ((cn_glyph[glyph_row * FONT_CN_ROW_BYTES + col / 8] & mask) != 0) {
					set_black_pixel(kw, glyph_x + col);
				}
			}
			glyph_x += CN_GLYPH_ADVANCE;
		} else {
			uint8_t ascii = codepoint <= 0x7F ? (uint8_t)codepoint : '?';
			const uint8_t *glyph = ascii_glyph_for(ascii);

			if (row >= ASCII_TEXT_Y && row < ASCII_TEXT_Y + ASCII_GLYPH_HEIGHT) {
				size_t glyph_row = (row - ASCII_TEXT_Y) / ASCII_FONT_SCALE;

				for (size_t col = 0; col < ASCII_FONT_WIDTH; col++) {
					if ((glyph[col] & (1U << glyph_row)) == 0) {
						continue;
					}
					for (size_t scale_x = 0; scale_x < ASCII_FONT_SCALE; scale_x++) {
						set_black_pixel(kw, glyph_x + col * ASCII_FONT_SCALE + scale_x);
					}
				}
			}
			glyph_x += ASCII_GLYPH_ADVANCE;
		}
		offset += consumed;
	}
}
```

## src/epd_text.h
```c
#ifndef EPD_TEXT_H_
#define EPD_TEXT_H_

#include <stddef.h>
#include <stdint.h>

#define EPD_TEXT_MAX_BYTES 96
#define EPD_TEXT_ROW_BYTES 100

/**
 * @brief Render one row of centered UTF-8 text on a white background.
 *
 * ASCII and the Chinese glyphs in font_cn.c are supported. K/W and RED are
 * filled using the project's CDI=0x12 encoding.
 */
void epd_text_render_row(const uint8_t *text, size_t length, size_t row,
				 uint8_t kw[EPD_TEXT_ROW_BYTES],
				 uint8_t red[EPD_TEXT_ROW_BYTES]);

#endif
```

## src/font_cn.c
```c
#include <stddef.h>

#include "font_cn.h"

struct font_cn_entry {
	uint32_t codepoint;
	uint8_t bitmap[FONT_CN_GLYPH_BYTES];
};

/* 32 x 32 glyphs generated from SimHei. Rows are stored top-to-bottom. */
static const struct font_cn_entry font_cn_table[] = {
	{
		.codepoint = 0x64CE, /* 擎 */
		.bitmap = {
			0x00, 0x00, 0x00, 0x00, 0x00, 0xC0, 0x08, 0x00,
			0x00, 0xCC, 0x0E, 0x00, 0x00, 0xCC, 0x0C, 0x00,
			0x1F, 0xFF, 0xCC, 0x04, 0x00, 0xCC, 0x1F, 0xFC,
			0x02, 0xCC, 0x18, 0x60, 0x03, 0x00, 0x38, 0x60,
			0x07, 0xFF, 0xBC, 0x60, 0x0F, 0xFF, 0xBC, 0x60,
			0x1C, 0x01, 0x86, 0xC0, 0x3F, 0xF9, 0x83, 0xC0,
			0x06, 0x19, 0x83, 0xC0, 0x06, 0x19, 0x8F, 0xE0,
			0x07, 0xFF, 0xBE, 0x7C, 0x07, 0xFB, 0xB8, 0x38,
			0x00, 0x00, 0x07, 0x80, 0x07, 0xFF, 0xFF, 0xC0,
			0x03, 0xFF, 0xC0, 0x00, 0x00, 0x00, 0xC0, 0x00,
			0x03, 0xFF, 0xFF, 0xE0, 0x03, 0xFF, 0xFF, 0xE0,
			0x00, 0x00, 0xC0, 0x00, 0x1F, 0xFF, 0xFF, 0xFC,
			0x1F, 0xFF, 0xFF, 0xFC, 0x00, 0x00, 0xC0, 0x00,
			0x00, 0x01, 0xC0, 0x00, 0x00, 0x07, 0xC0, 0x00,
			0x00, 0x03, 0x80, 0x00, 0x00, 0x00, 0x00, 0x00,
			0x00, 0x00, 0x00, 0x00, 0x00, 0x00, 0x00, 0x00,
		},
	},
	{
		.codepoint = 0x7FCC, /* 翌 */
		.bitmap = {
			0x00, 0x00, 0x00, 0x00, 0x00, 0x00, 0x00, 0x00,
			0x1F, 0xFE, 0x7F, 0xF0, 0x1F, 0xFE, 0x7F, 0xF0,
			0x00, 0x0E, 0x00, 0x70, 0x03, 0x0E, 0x18, 0x70,
			0x03, 0x0E, 0x18, 0x70, 0x03, 0x8E, 0x1C, 0x70,
			0x01, 0x0E, 0x18, 0x70, 0x00, 0x3E, 0x01, 0xF0,
			0x07, 0xFE, 0x1F, 0xF0, 0x1F, 0xCE, 0x7E, 0x70,
			0x1C, 0x0E, 0x70, 0x70, 0x00, 0x00, 0x00, 0x70,
			0x00, 0x01, 0xC0, 0x00, 0x00, 0x01, 0xC0, 0x00,
			0x0F, 0xFF, 0xFF, 0xF0, 0x0F, 0xFF, 0xFF, 0xF0,
			0x00, 0x00, 0x00, 0x00, 0x00, 0x00, 0x08, 0x00,
			0x00, 0x70, 0x0E, 0x00, 0x00, 0x30, 0x1C, 0x00,
			0x00, 0x38, 0x1C, 0x00, 0x00, 0x38, 0x38, 0x00,
			0x00, 0x00, 0x30, 0x00, 0x1F, 0xFF, 0xFF, 0xF8,
			0x1F, 0xFF, 0xFF, 0xF8, 0x00, 0x00, 0x00, 0x00,
			0x00, 0x00, 0x00, 0x00, 0x00, 0x00, 0x00, 0x00,
			0x00, 0x00, 0x00, 0x00, 0x00, 0x00, 0x00, 0x00,
		},
	},
	{
		.codepoint = 0x667A, /* 智 */
		.bitmap = {
			0x00, 0x00, 0x00, 0x00, 0x00, 0x00, 0x00, 0x00,
			0x00, 0x00, 0x00, 0x00, 0x01, 0xC0, 0x00, 0x00,
			0x01, 0x80, 0x00, 0x00, 0x03, 0x01, 0x80, 0x00,
			0x07, 0xFF, 0x9F, 0xF0, 0x06, 0x30, 0x98, 0x30,
			0x0E, 0x30, 0x18, 0x30, 0x04, 0x30, 0x18, 0x30,
			0x1F, 0xFF, 0xD8, 0x30, 0x1F, 0xFF, 0xD8, 0x30,
			0x00, 0x70, 0x18, 0x30, 0x00, 0x78, 0x18, 0x30,
			0x00, 0xFF, 0x1F, 0xF0, 0x01, 0xC7, 0x9F, 0xF0,
			0x07, 0x81, 0x80, 0x00, 0x0F, 0x00, 0x00, 0x00,
			0x04, 0xFF, 0xFF, 0x80, 0x00, 0xFF, 0xFF, 0x80,
			0x00, 0xC0, 0x01, 0x80, 0x00, 0xC0, 0x01, 0x80,
			0x00, 0xFF, 0xFF, 0x80, 0x00, 0xFF, 0xFF, 0x80,
			0x00, 0xC0, 0x01, 0x80, 0x00, 0xC0, 0x01, 0x80,
			0x00, 0xC0, 0x01, 0x80, 0x00, 0xFF, 0xFF, 0x80,
			0x00, 0xC0, 0x01, 0x80, 0x00, 0xC0, 0x01, 0x80,
			0x00, 0x00, 0x00, 0x00, 0x00, 0x00, 0x00, 0x00,
		},
	},
	{
		.codepoint = 0x80FD, /* 能 */
		.bitmap = {
			0x00, 0x00, 0x00, 0x00, 0x00, 0xC0, 0x30, 0x00,
			0x00, 0xE0, 0x30, 0x20, 0x01, 0xC0, 0x30, 0x60,
			0x03, 0x84, 0x31, 0xF0, 0x03, 0x1C, 0x37, 0x80,
			0x06, 0x0E, 0x3E, 0x00, 0x0E, 0x07, 0x38, 0x00,
			0x1F, 0xFF, 0xB0, 0x10, 0x0F, 0xF3, 0xB0, 0x38,
			0x00, 0x00, 0x38, 0x38, 0x00, 0x00, 0x3F, 0xF0,
			0x07, 0xFE, 0x0F, 0xE0, 0x07, 0xFE, 0x00, 0x00,
			0x06, 0x06, 0x30, 0x00, 0x06, 0x06, 0x30, 0x20,
			0x07, 0xFE, 0x30, 0x60, 0x07, 0xFE, 0x31, 0xF0,
			0x06, 0x06, 0x3F, 0xC0, 0x06, 0x06, 0x3E, 0x00,
			0x06, 0x06, 0x30, 0x00, 0x07, 0xFE, 0x30, 0x00,
			0x06, 0x06, 0x30, 0x00, 0x06, 0x06, 0x30, 0x18,
			0x06, 0x06, 0x30, 0x38, 0x06, 0x0E, 0x3F, 0xF8,
			0x06, 0x1E, 0x1F, 0xF0, 0x06, 0x1C, 0x00, 0x00,
			0x00, 0x00, 0x00, 0x00, 0x00, 0x00, 0x00, 0x00,
			0x00, 0x00, 0x00, 0x00, 0x00, 0x00, 0x00, 0x00,
		},
	},
};

const uint8_t *font_cn_find(uint32_t codepoint)
{
	for (size_t i = 0; i < sizeof(font_cn_table) / sizeof(font_cn_table[0]); i++) {
		if (font_cn_table[i].codepoint == codepoint) {
			return font_cn_table[i].bitmap;
		}
	}

	return NULL;
}
```

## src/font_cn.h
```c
#ifndef FONT_CN_H_
#define FONT_CN_H_

#include <stdint.h>

#define FONT_CN_WIDTH 32U
#define FONT_CN_HEIGHT 32U
#define FONT_CN_ROW_BYTES (FONT_CN_WIDTH / 8U)
#define FONT_CN_GLYPH_BYTES (FONT_CN_ROW_BYTES * FONT_CN_HEIGHT)

/**
 * Look up one 32 x 32 monochrome Chinese glyph by Unicode code point.
 * A set bit is a foreground (black) pixel.
 *
 * @return Pointer to FONT_CN_GLYPH_BYTES bytes, or NULL when unsupported.
 */
const uint8_t *font_cn_find(uint32_t codepoint);

#endif
```
